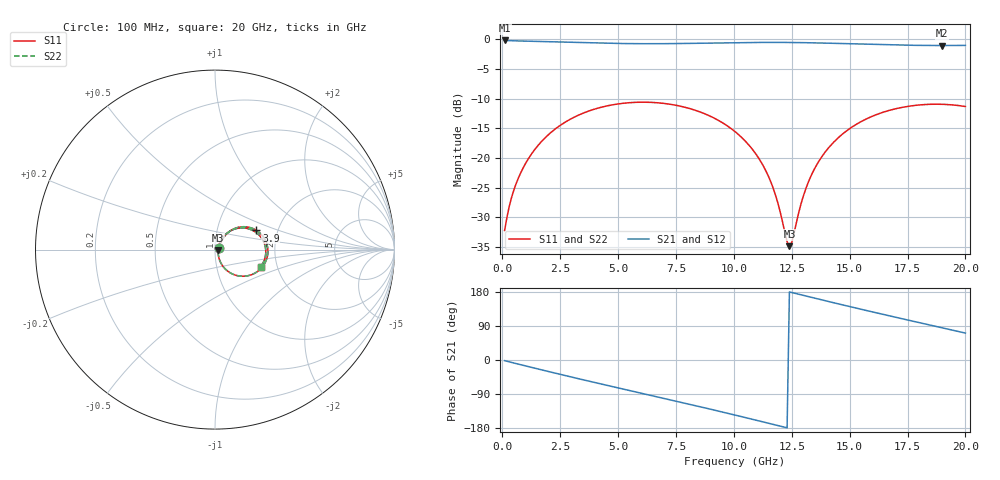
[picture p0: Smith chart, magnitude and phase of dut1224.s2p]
! Touchstone file exported from HFSS 2026.1.0
!  File:  C:/ffzhzh/LocalFiles/Ansys_Project_Files/temp_train_TSV_RDL_1224_1783321625_30076.aedt
!  Generated:  03:21:11 PM Jul  6, 2026
!  Design:  TSV_RDL
!  Project:  temp_train_TSV_RDL_1224_1783321625_30076
! Variables:
!  h_bsmrdl = 2.5um
!  h_ox = 20um
!  h_rdl = 5um
!  h_sub = 54.72um
!  h_tmrdl = 3.6um
!  h_tsv = 54.72um
!  h_via = 3um
!  l_bsmrdl = 870.88um
!  l_sub = 5176.13um
!  l_tmrdl = 497.74um
!  m_sub = 200um
!  pitch = 39.58um
!  r_tsv = 6.71um
!  s_tmrdl = 10um
!  w_bsmrdl = 28.47um
!  w_sub = 500um
!  w_tmrdl = 29.04um
!  x_tsv_center1 = 512.26um
!  x_tsv_center2 = 1411.61um
!  x_tsv_center3 = 1938.39um
!  x_tsv_center4 = 2837.74um
!  x_tsv_center5 = 3364.52um
!  x_tsv_center6 = 4263.87um
# GHz S MA R 50.000000
! Terminal data exported
! Port[1] = TM_RDL1_1_T1
! Port[2] = TM_RDL5_1_T1
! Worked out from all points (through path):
!   200 points, 100 MHz to 20 GHz, reference 50 ohm
!   highest |S21| = -0.19 dB at 100 MHz (marker M1); lowest = -1.0 dB at 19 GHz (marker M2)
!   group delay of S21, straight-line fit = 40.2 ps
!   lowest |S11| = -34.9 dB at 12.4 GHz (marker M3), VSWR 1.04, Z = 51.8 - j0.189 ohm
!   |S11| at or under -10 dB: start of sweep to end of sweep
!   |S22| runs from -34.9 to -10.6 dB; largest |S21 - S12| = 3.6e-14
!   S11 on the Smith chart (normalised r, x): 100 MHz: 1.05, +0.02; 3.9 GHz: 1.55, +0.36; 20 GHz: 1.64, -0.33
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0.1  0.02443 24.9  0.9781 -1.7  0.9781 -1.7  0.02443 24.9
! Gamma 0 0 0 0
! Port Impedance 50 0 50 0
0.5  0.05357 50.8  0.9712 -8.0  0.9712 -8.0  0.05357 50.8
1.2  0.1035 53.8  0.9634 -18.6  0.9634 -18.6  0.1035 53.8
2.2  0.17 45.4  0.9522 -33.5  0.9522 -33.5  0.17 45.4
3.5  0.2387 29.9  0.9365 -52.4  0.9365 -52.4  0.2387 29.9
3.9  0.2547 24.8  0.9321 -58.1  0.9321 -58.1  0.2547 24.9
5.3  0.2898 6.8  0.9209 -77.8  0.9209 -77.8  0.2899 6.8
6.8  0.2905 -12.7  0.9185 -98.7  0.9185 -98.7  0.2905 -12.7
8.4  0.2496 -33.6  0.9258 -121.3  0.9258 -121.3  0.2496 -33.6
10.1  0.1635 -55.1  0.9374 -146.0  0.9374 -146.0  0.1636 -55.1
10.8  0.1182 -62.7  0.9408 -156.4  0.9408 -156.4  0.1182 -62.7
11.4  0.07652 -66.5  0.9422 -165.4  0.9422 -165.4  0.07657 -66.4
11.8  0.04851 -64.1  0.9421 -171.4  0.9421 -171.4  0.04858 -64.0
12.4  0.018 -5.8  0.9406 179.5  0.9406 179.5  0.01809 -5.9
12.5  0.01933 15.4  0.9402 178.0  0.9402 178.0  0.01941 15.3
13  0.04755 54.5  0.9373 170.5  0.9373 170.5  0.04757 54.4
13.4  0.07505 57.1  0.9342 164.6  0.9342 164.6  0.07505 57.1
14  0.1156 53.5  0.9284 155.7  0.9284 155.7  0.1156 53.5
14.7  0.1593 46.1  0.9206 145.4  0.9206 145.4  0.1593 46.1
16.7  0.2511 21.4  0.898 116.8  0.898 116.8  0.2511 21.4
19  0.2831 -7.8  0.8866 84.9  0.8866 84.9  0.2831 -7.8
20  0.2711 -20.4  0.8884 71.0  0.8884 71.0  0.2712 -20.4
